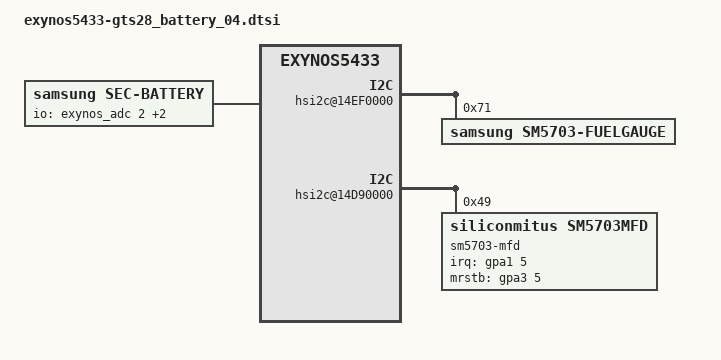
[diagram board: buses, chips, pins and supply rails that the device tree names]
/*
 * SAMSUNG UNIVERSAL5430 board device tree source
 *
 * Copyright (c) 2013 Samsung Electronics Co., Ltd.
 *		http://www.samsung.com
 *
 * This program is free software; you can redistribute it and/or modify
 * it under the terms of the GNU General Public License version 2 as
 * published by the Free Software Foundation.
*/

/ {
	pinctrl@10580000 {
		fuel_irq: fuel-irq {
			samsung,pins = "gpa1-4";
			samsung,pin-function = <0>;
			samsung,pin-pud = <0>;
			samsung,pin-drv = <0>;
		};
	};

	pinctrl@14CC0000 {
		chg_en: chg-en {
			samsung,pins = "gpg3-6";
			samsung,pin-function = <1>;
			samsung,pin-pud = <0>;
			samsung,pin-drv = <0>;
		};
	};

	pinctrl@14CE0000 {
		factory_discharging: factory-discharging {
			samsung,pins = "gpj1-2";
			samsung,pin-function = <1>;
			samsung,pin-pud = <0>;
		};
	};

	hsi2c@14EF0000 {
		status = "okay";
		sm5703-fuelgauge@71 {
			compatible = "samsung,sm5703-fuelgauge";
			reg = <0x71>;
			pinctrl-names = "default";
			pinctrl-0 = <&fuel_irq>;
			fuelgauge,fuel_int = <&gpa1 4 0>;
			fuelgauge,fuel_alert_soc = <2>;
			fuelgauge,capacity_max = <990>;
			fuelgauge,capacity_max_margin = <60>;
			fuelgauge,capacity_min = <0>;
			fuelgauge,capacity_calculation_type = <12>;
			fuelgauge,type_str = "SDI";
		};
	};

	battery_params {
		battery,id = <0>; /* -1 means auto, detected by F/G */
		battery0,battery_type = <4350>; /* 4200 4350 4400 */
		battery0,battery_table0 = <0x1400 0x1B33 0x1D0C 0x1D56 0x1D7E 0x1D8A 0x1DED 0x1E66 0x1EED 0x1FAD 0x1FE3 0x2085 0x209E 0x2138 0x2302 0x2400>;
		battery0,battery_table1 = <0x1400 0x1B33 0x1D0C 0x1D56 0x1D7E 0x1D8A 0x1DED 0x1E66 0x1EED 0x1FAD 0x1FE3 0x2085 0x209E 0x2138 0x2302 0x2400>;
		battery0,battery_table2 = <0x0 0x49 0x7A 0xCC 0x199 0x333 0x599 0xB33 0x1000 0x1333 0x14CC 0x1666 0x1733 0x1999 0x2000 0x2049>;
		battery0,temp_std = <25>;
		battery0,temp_offset = <10>;
		battery0,temp_offset_cal = <0x01>;
		battery0,charge_offset_cal = <0x00>;
		battery0,rce_value = <0x0749 0x0580 0x371>;
		battery0,dtcd_value = <0x1>;
		battery0,rs_value = <0x1ae 0x47a 0x3800 0x00a4>; /*rs mix_factor max min*/
		battery0,vit_period = <0x350a>;
		battery0,mix_value = <0x0a03 0x0004>; /*mix_rate init_blank*/
		battery0,topoff_soc = <0x0 0x000>; /* disable soc */
		battery0,volt_cal = <0x8000>;
		battery0,curr_cal = <0x8100>;
	};

	battery {
		status = "okay";

		pinctrl-names = "default";
		pinctrl-0 = <&factory_discharging>;

		battery,factory_discharging = <&gpj1 2 0>;		

		compatible = "samsung,sec-battery";
		battery,vendor = "SDI SDI";
		battery,charger_name = "sm5703-charger";
		battery,fuelgauge_name = "sm5703-fuelgauge";
		battery,technology = <2>; /* POWER_SUPPLY_TECHNOLOGY_LION */
		/* .temp_cohot = -1000; */
		/* .temp_cocold = -4325; */

		battery,chip_vendor = "LSI";
		battery,temp_adc_type = <1>; /* SEC_BATTERY_ADC_TYPE_AP */

		battery,polling_time = <10 30 30 30 3600>;

		battery,temp_table_adc = <58 60 62 63 64 66 68 70 73 75 77 79 82
						85 87 89 92 106 110 113 117 121 124 128 133 138 141 145
						152 159 162 166 170 177 183 189 195 200 204 208
						213 219 228 276 326 386 456 541 645 765 779 810 865 866 907
						928 961 998 1034 1068 1103 1134 1158 1210 1259 1472>;

		battery,temp_table_data = <850 840 830 820 810 800 790 780 770 760 750 740 730 
						720 710 700 690 640 630 620 610 600 590 580 570 560 550 540
						530 520 510 500 490 480 470 460 450 440 430 420
						410 400 390 340 290 240 190 150 100 50 40 30 20 10 0
						(-10) (-20) (-30) (-40) (-50) (-60) (-70) (-80) (-90) (-100) (-150)>;

		battery,input_current_limit = <1750 0 0 1750 460 900 1000 460 1000 0 760 1750 1750 0 1400 400 700 1300 300 1000 1600 0 1667 1000 1667 80 1750 1667 1400 450>;
		battery,fast_charging_current = <2100 0 0 2100 460 1200 1000 460 1200 0 900 1600 2100 0 1400 400 700 1300 300 1000 1900 0 3150 1000 3150 80 1800 1000 1400 450>;
		battery,full_check_current_1st = <200 0 0 200 200 200 200 200 200 0 200 200 200 0 200 200 200 200 200 200 200 0 200 200 200 0 200 200 200 200>;
		battery,full_check_current_2nd = <120 0 0 120 120 120 120 120 120 0 120 120 120 0 120 120 120 120 120 120 120 0 120 120 120 0 120 120 120 120>;

		battery,inbat_voltage = <1>;
		battery,inbat_voltage_table_adc = <3120 3101 3061 3038 3001 2956 2920 2887 2856 2814
						2793 2754 2720 2677 2641 2613 2572 2531 2502 2467 2436>;
		battery,inbat_voltage_table_data = <438 435 430 425 420 415 410 405 400 395
						390 385 380 375 370 365 360 355 350 345 340>;

		battery,adc_check_count = <5>;

		battery,cable_check_type = <4>; /* SEC_BATTERY_CABLE_CHECK_NOUSBCHARGE | SEC_BATTERY_CABLE_CHECK_PSY */
		battery,cable_source_type = <1>; /* SEC_BATTERY_CABLE_SOURCE_EXTERNAL */
		battery,event_waiting_time = <600>;
		battery,polling_type = <1>; /* SEC_BATTERY_MONITOR_ALARM */
		battery,monitor_initial_count = <0>;

		battery,battery_check_type = <0>; /* SEC_BATTERY_CHECK_CHARGER */
		battery,check_count = <0>;
		battery,check_adc_max = <1440>;
		battery,check_adc_min = <0>;

		battery,ovp_uvlo_check_type = <3>; /* SEC_BATTERY_OVP_UVLO_CHGPOLLING */

		battery,thermal_source = <2>; /* SEC_BATTERY_THERMAL_SOURCE_ADC */

		battery,temp_check_type = <2>; /* SEC_BATTERY_TEMP_CHECK_TEMP */
		battery,temp_check_count = <1>;
		battery,temp_highlimit_threshold_event = <800>;
		battery,temp_highlimit_recovery_event = <750>;
		battery,temp_high_threshold_event = <550>;
		battery,temp_high_recovery_event = <500>;
		battery,temp_low_threshold_event = <(-30)>;
		battery,temp_low_recovery_event = <0>;
		battery,temp_highlimit_threshold_normal = <800>;
		battery,temp_highlimit_recovery_normal = <750>;
		battery,temp_high_threshold_normal = <550>;
		battery,temp_high_recovery_normal = <500>;
		battery,temp_low_threshold_normal = <(-50)>;
		battery,temp_low_recovery_normal = <0>;
		battery,temp_highlimit_threshold_lpm = <800>;
		battery,temp_highlimit_recovery_lpm = <750>;
		battery,temp_high_threshold_lpm = <550>;
		battery,temp_high_recovery_lpm = <500>;
		battery,temp_low_threshold_lpm = <(-50)>;
		battery,temp_low_recovery_lpm = <0>;
		battery,full_check_type = <2>; /* SEC_BATTERY_FULLCHARGED_FG_CURRENT */
		battery,full_check_type_2nd = <0>; /* SEC_BATTERY_FULLCHARGED_NONE */
		battery,full_check_count = <3>;
		battery,chg_gpio_full_check = <0>;
		battery,chg_polarity_full_check = <1>;

		/* SEC_BATTERY_FULL_CONDITION_SOC |
		   SEC_BATTERY_FULL_CONDITION_NOTIMEFULL |
		   SEC_BATTERY_FULL_CONDITION_VCELL */
		battery,full_condition_type = <13>;
		battery,full_condition_soc = <93>;
		battery,full_condition_vcell = <4300>;

		battery,recharge_check_count = <1>;
		battery,recharge_condition_type = <4>; /* SEC_BATTERY_RECHARGE_CONDITION_VCELL */
		battery,recharge_condition_soc = <98>;
		battery,recharge_condition_vcell = <4340>;

		battery,charging_total_time = <21600>;
		battery,recharging_total_time = <5400>;
		battery,charging_reset_time = <0>;

		battery,always_enable;

		io-channels = <&exynos_adc 2>, <&exynos_adc 1>, <&exynos_adc 4>;
		io-channel-names = "adc-temp", "in-bat-adc", "discharging-check-adc";
		#io-channel-cells = <1>;
		io-channel-ranges;

		battery,chg_float_voltage = <4390>;

		battery,self_discharging_en;
		battery,force_discharging_limit = <650>;
		battery,force_discharging_recov = <550>;
		battery,self_discharging_voltage_limit = <4250>;
		battery,discharging_adc_max = <2600>;
		battery,discharging_adc_min = <1700>;
		battery,discharging_ntc_limit = <2750>;

		battery,swelling_high_temp_block = <450>;
		battery,swelling_high_temp_recov = <400>;
		battery,swelling_low_temp_block = <100>;
		battery,swelling_low_temp_recov = <150>;
		battery,swelling_chg_current = <2000>;
		battery,swelling_topoff_current = <200>;
		battery,swelling_drop_float_voltage = <4200>;
		battery,swelling_high_rechg_voltage = <4150>;
		battery,swelling_low_rechg_voltage = <4050>;
		battery,swelling_block_time = <600>;
	};

	hsi2c@14D90000 {
		status = "okay";
		sm5703-mfd@49 {
			compatible = "siliconmitus,sm5703mfd";
			reg = <0x49>;
			pinctrl-names = "default";
			pinctrl-0 = <&chg_en &if_pmic_irq>;
			sm5703,irq-gpio = <&gpa1 5 0>;
			sm5703,mrstb-gpio = <&gpa3 5 0>;
		};
	};

	charger {
		status = "disable";
		compatible = "siliconmitus,sm5703-charger";

		/* Charger */
		battery,charger_name = "sm5703-charger";
		battery,chg_gpio_en = <&gpg3 6 0>;
		battery,chg_polarity_en = <0>;
		battery,chg_gpio_status = <0>;
		battery,chg_polarity_status = <0>;
		battery,chg_float_voltage = <4390>;
		chg_autostop = <1>;
		chg_autoset = <1>;
		chg_aiclen = <1>;
		chg_aiclth = <4300>;
		chg_vbuslimit = <0>;
		fg_vol_val = <4350>;
		fg_soc_val = <95>;
		fg_curr_avr_val = <150>;
	};
};
